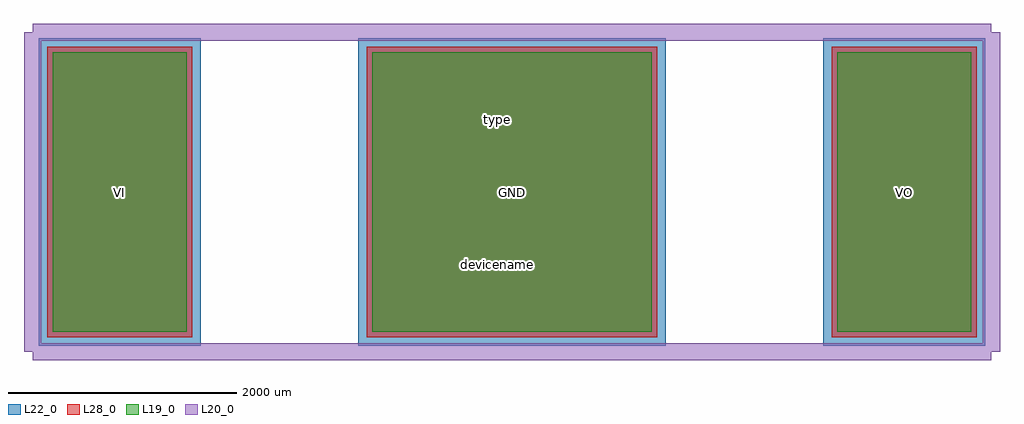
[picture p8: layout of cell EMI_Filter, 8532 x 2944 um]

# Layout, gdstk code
import gdstk
lib = gdstk.Library(unit=1e-6, precision=1e-09)
def R(c, l, rs):  # rectangles x0, y0, x1, y1
    for r in rs: c.add(gdstk.rectangle(r[:2], r[2:], *l))
L19_0 = (19, 0)
L20_0 = (20, 0)
L22_0 = (22, 0)
L28_0 = (28, 0)

emi_filter = lib.new_cell('EMI_Filter')
R(emi_filter, L19_0, [(-4014,-1220,-2844,1220), (-1220,-1220,1220,1220), (2844,-1220,4014,1220)])
R(emi_filter, L22_0, [(-4139,-1345,-2719,1345), (-1345,-1345,1345,1345), (2719,-1345,4139,1345)])
R(emi_filter, L28_0, [(-4064,-1270,-2794,1270), (-1270,-1270,1270,1270), (2794,-1270,4064,1270)])
emi_filter.add(gdstk.FlexPath([(4191,1397),(-4191,1397)], 149.998, ends="flush", simple_path=True, layer=20, datatype=0))  # L20_0
emi_filter.add(gdstk.FlexPath([(4191,-1397),(4191,1397)], 149.998, ends="flush", simple_path=True, layer=20, datatype=0))  # L20_0
emi_filter.add(gdstk.FlexPath([(-4191,-1397),(4191,-1397)], 149.998, ends="flush", simple_path=True, layer=20, datatype=0))  # L20_0
emi_filter.add(gdstk.FlexPath([(-4191,1397),(-4191,-1397)], 149.998, ends="flush", simple_path=True, layer=20, datatype=0))  # L20_0
emi_filter.add(gdstk.Label('VO', (3429,0), layer=28, texttype=0))
emi_filter.add(gdstk.Label('GND', (0,0), layer=28, texttype=0))
emi_filter.add(gdstk.Label('VI', (-3429,0), layer=28, texttype=0))
emi_filter.add(gdstk.Label('type', (-127,635), layer=9, texttype=0))
emi_filter.add(gdstk.Label('devicename', (-127,-635), layer=9, texttype=0))

lib.write_gds('EMI_Filter.gds')
